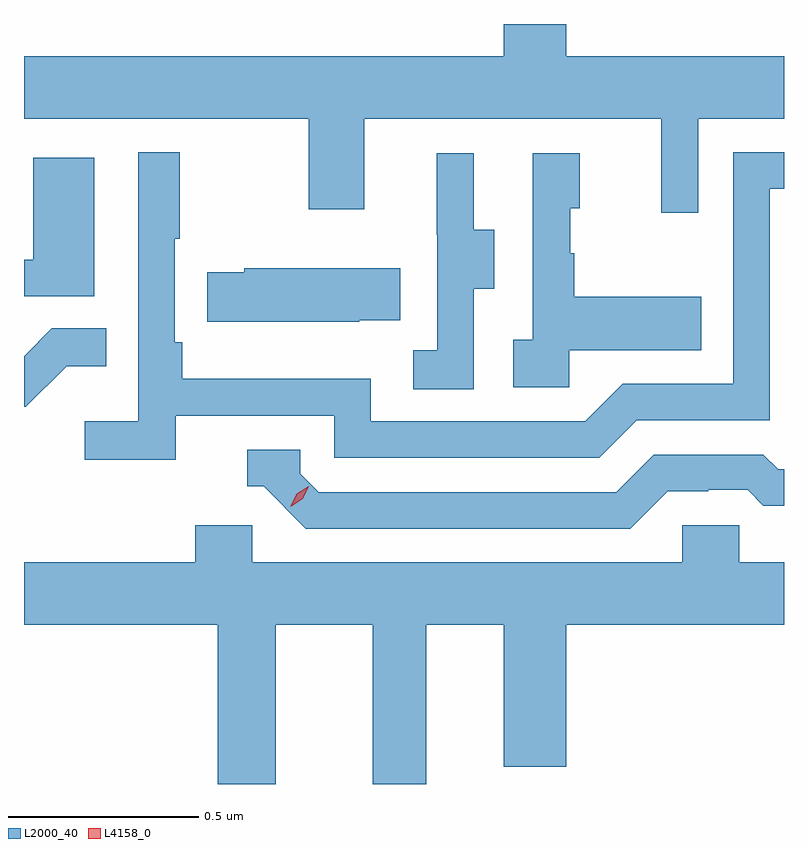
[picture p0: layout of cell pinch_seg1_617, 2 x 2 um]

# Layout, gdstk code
import gdstk
lib = gdstk.Library(unit=1e-6, precision=1e-09)
def P(c, l, *ps):  # polygons
    for p in ps: c.add(gdstk.Polygon(p, *l))
L2000_40 = (2000, 40)
L4158_0 = (4158, 0)

pinch_seg1_617 = lib.new_cell('pinch_seg1_617')
P(pinch_seg1_617, L2000_40, [(1136.547,510.44),(1136.773,510.44),(1136.773,510.604),(1136.2,510.604),(1136.2,510.689),(1136.036,510.689),(1136.036,510.604),(1134.773,510.604),(1134.773,510.44),(1135.522,510.44),(1135.522,510.201),(1135.669,510.201),(1135.669,510.44),(1136.45,510.44),(1136.45,510.192),(1136.547,510.192)],
  [(1135.172,509.658),(1135.59,509.658),(1135.59,509.547),(1136.287,509.547),(1136.386,509.646),(1136.736,509.646),(1136.736,510.255),(1136.773,510.255),(1136.773,510.351),(1136.64,510.351),(1136.64,509.742),(1136.349,509.742),(1136.25,509.643),(1135.686,509.643),(1135.686,509.755),(1135.19,509.755),(1135.19,509.851),(1135.17,509.851),(1135.17,510.124),(1135.183,510.124),(1135.183,510.352),(1135.074,510.352),(1135.074,509.644),(1134.933,509.644),(1134.933,509.542),(1135.172,509.542)],
  [(1135.956,509.992),(1136.011,509.992),(1136.011,510.147),(1135.957,510.147),(1135.957,510.349),(1135.859,510.349),(1135.859,510.135),(1135.86,510.135),(1135.86,509.831),(1135.797,509.831),(1135.797,509.728),(1135.956,509.728)],
  [(1136.208,509.831),(1136.555,509.831),(1136.555,509.971),(1136.221,509.971),(1136.221,510.086),(1136.211,510.086),(1136.211,510.204),(1136.236,510.204),(1136.236,510.349),(1136.112,510.349),(1136.112,509.858),(1136.061,509.858),(1136.061,509.733),(1136.208,509.733)],
  [(1134.958,510.337),(1134.797,510.337),(1134.797,510.069),(1134.773,510.069),(1134.773,509.973),(1134.958,509.973)],
  [(1135.655,509.909),(1135.763,509.909),(1135.763,510.046),(1135.353,510.046),(1135.353,510.036),(1135.255,510.036),(1135.255,509.906),(1135.655,509.906)],
  [(1134.885,509.789),(1134.989,509.789),(1134.989,509.888),(1134.846,509.888),(1134.773,509.815),(1134.773,509.682),(1134.778,509.682)],
  [(1136.467,509.46),(1136.574,509.46),(1136.574,509.463),(1136.677,509.463),(1136.719,509.421),(1136.773,509.421),(1136.773,509.517),(1136.758,509.517),(1136.719,509.556),(1136.43,509.556),(1136.331,509.457),(1135.548,509.457),(1135.5,509.505),(1135.5,509.568),(1135.361,509.568),(1135.361,509.472),(1135.404,509.472),(1135.515,509.361),(1136.368,509.361)],
  [(1135.435,509.108),(1135.691,509.108),(1135.691,508.689),(1135.831,508.689),(1135.831,509.108),(1136.036,509.108),(1136.036,508.734),(1136.2,508.734),(1136.2,509.108),(1136.773,509.108),(1136.773,509.272),(1136.655,509.272),(1136.655,509.37),(1136.505,509.37),(1136.505,509.272),(1135.374,509.272),(1135.374,509.37),(1135.223,509.37),(1135.223,509.272),(1134.773,509.272),(1134.773,509.108),(1135.283,509.108),(1135.283,508.689),(1135.435,508.689)])
P(pinch_seg1_617, L4158_0, [(1135.475,509.42),(1135.475,509.42),(1135.491,509.453),(1135.522,509.472),(1135.522,509.472),(1135.522,509.472),(1135.506,509.44),(1135.476,509.42)])

lib.write_gds('pinch_seg1_617.gds')
